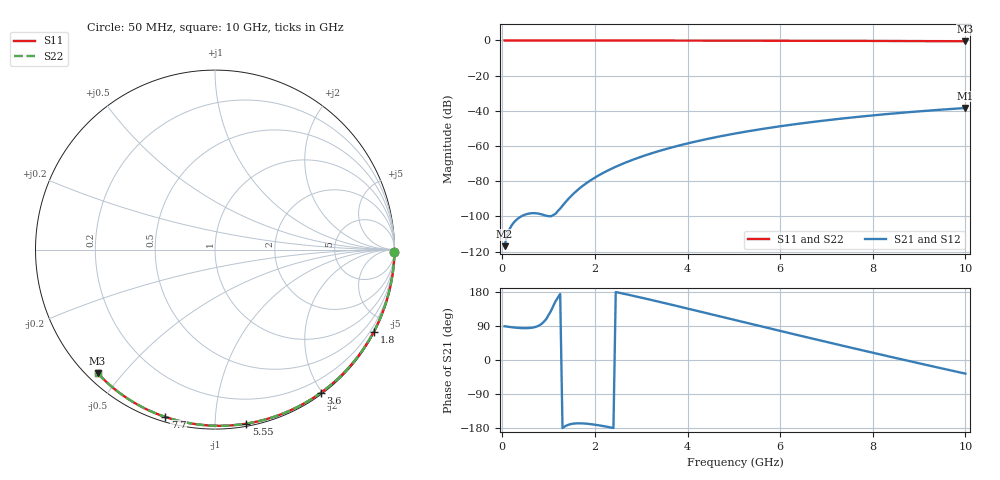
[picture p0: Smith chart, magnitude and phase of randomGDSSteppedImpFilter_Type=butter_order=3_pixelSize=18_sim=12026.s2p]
! freq	dB(S11)	phase(S11)	dB(S12)	phase(S12)
!  dB(S21)	phase(S21)	dB(S22)	phase(S22)
!S-par simulation data
#  GHz  S  DB  R 50
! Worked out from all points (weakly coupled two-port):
!   200 points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, 50 MHz to 10 GHz, reference 50 ohm
!   highest |S21| = -38.37 dB at 10 GHz (marker M1); lowest = -116.9 dB at 50 MHz (marker M2)
!   lowest |S11| = -0.4 dB at 10 GHz (marker M3), VSWR 38.72, Z = 1.53 - j21.4 ohm
!   |S11| at or under -10 dB: nowhere
!   |S22| runs from -0.4 to 0.0 dB; largest |S21 - S12| = 0
!   S11 on the Smith chart (normalised r, x): 50 MHz: open; 1.8 GHz: 0.04, -4.11; 3.6 GHz: 0.02, -1.99; 5.55 GHz: 0.02, -1.20; 7.7 GHz: 0.02, -0.75; 10 GHz: 0.03, -0.43
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0.05  -0.00 -0.8  -116.89 89.1  -116.89 89.1  -0.00 -0.8
0.9  -0.02 -13.8  -99.23 101.3  -99.23 101.3  -0.02 -13.8
1.75  -0.03 -26.6  -82.35 -167.4  -82.35 -167.4  -0.03 -26.6
1.8  -0.03 -27.3  -81.38 -167.9  -81.38 -167.9  -0.03 -27.3
1.85  -0.04 -28.1  -80.46 -168.4  -80.46 -168.4  -0.04 -28.1
1.9  -0.04 -28.8  -79.58 -169.1  -79.58 -169.1  -0.04 -28.8
2.05  -0.04 -31.0  -77.14 -171.7  -77.14 -171.7  -0.04 -31.0
2.25  -0.04 -34.0  -74.28 -175.9  -74.28 -175.9  -0.04 -34.0
2.45  -0.05 -36.9  -71.76 179.3  -71.76 179.3  -0.05 -36.9
2.65  -0.05 -39.8  -69.51 174.2  -69.51 174.2  -0.05 -39.8
3  -0.06 -44.9  -66.07 164.6  -66.07 164.6  -0.06 -44.9
3.4  -0.07 -50.6  -62.71 153.3  -62.71 153.3  -0.07 -50.6
3.6  -0.07 -53.4  -61.21 147.5  -61.21 147.5  -0.07 -53.4
4.3  -0.09 -63.1  -56.69 126.9  -56.69 126.9  -0.09 -63.1
5.05  -0.11 -73.2  -52.77 104.7  -52.77 104.7  -0.11 -73.2
5.55  -0.13 -79.8  -50.55 90.0  -50.55 90.0  -0.13 -79.8
6.1  -0.15 -86.8  -48.39 73.8  -48.39 73.8  -0.15 -86.8
6.7  -0.18 -94.4  -46.31 56.4  -46.31 56.4  -0.18 -94.4
7.7  -0.24 -106.6  -43.36 27.7  -43.36 27.7  -0.24 -106.6
8.35  -0.29 -114.3  -41.73 9.3  -41.73 9.3  -0.29 -114.3
9.15  -0.36 -123.7  -39.97 -12.9  -39.97 -12.9  -0.36 -123.7
10  -0.45 -133.5  -38.37 -36.0  -38.37 -36.0  -0.45 -133.5
